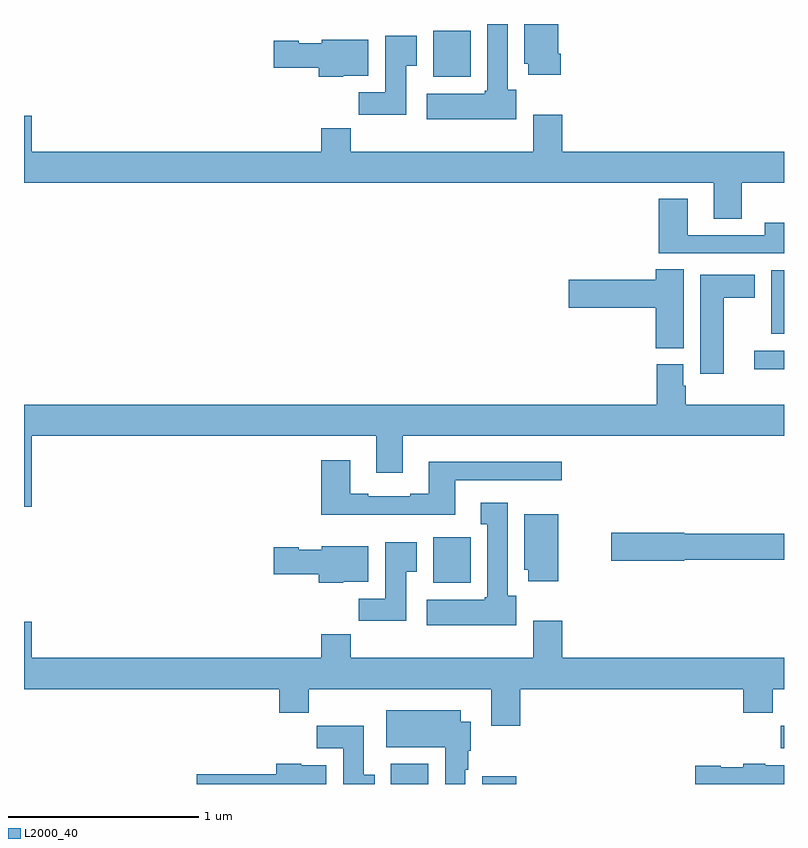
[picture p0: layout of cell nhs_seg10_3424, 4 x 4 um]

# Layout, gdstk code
import gdstk
lib = gdstk.Library(unit=1e-6, precision=1e-09)
def R(c, l, rs):  # rectangles x0, y0, x1, y1
    for r in rs: c.add(gdstk.rectangle(r[:2], r[2:], *l))
def P(c, l, *ps):  # polygons
    for p in ps: c.add(gdstk.Polygon(p, *l))
L2000_40 = (2000, 40)

nhs_seg10_3424 = lib.new_cell('nhs_seg10_3424')
R(nhs_seg10_3424, L2000_40, [(298.931,1282.5,299.128,1282.606), (299.411,1282.5,299.59,1282.54), (300.982,1282.688,301,1282.806), (299.153,1283.558,299.35,1283.8), (300.843,1284.683,301,1284.78), (300.932,1284.869,301,1285.204), (299.153,1286.222,299.35,1286.464)])
P(nhs_seg10_3424, L2000_40, [(299.825,1286.344),(299.812,1286.344),(299.812,1286.5),(299.633,1286.5),(299.633,1286.292),(299.654,1286.292),(299.654,1286.232),(299.825,1286.232)],
  [(299.59,1286.154),(299.545,1286.154),(299.545,1286.5),(299.438,1286.5),(299.438,1286.148),(299.425,1286.148),(299.425,1286.134),(299.121,1286.134),(299.121,1286),(299.59,1286)],
  [(299.011,1286.281),(299.068,1286.281),(299.068,1286.437),(298.901,1286.437),(298.901,1286.14),(298.762,1286.14),(298.762,1286.022),(299.011,1286.022)],
  [(298.68,1286.228),(298.813,1286.228),(298.813,1286.416),(298.566,1286.416),(298.566,1286.398),(298.446,1286.398),(298.446,1286.411),(298.314,1286.411),(298.314,1286.269),(298.55,1286.269),(298.55,1286.222),(298.68,1286.222)],
  [(300.777,1285.664),(301,1285.664),(301,1285.828),(299.834,1285.828),(299.834,1286.023),(299.681,1286.023),(299.681,1285.828),(298.721,1285.828),(298.721,1285.952),(298.565,1285.952),(298.565,1285.828),(297.04,1285.828),(297.04,1286.017),(297,1286.017),(297,1285.664),(300.629,1285.664),(300.629,1285.474),(300.777,1285.474)],
  [(301,1285.453),(300.898,1285.453),(300.898,1285.389),(300.493,1285.389),(300.493,1285.579),(300.341,1285.579),(300.341,1285.293),(301,1285.293)],
  [(300.472,1285.208),(300.326,1285.208),(300.326,1285.154),(299.868,1285.154),(299.868,1285.007),(300.326,1285.007),(300.326,1284.793),(300.472,1284.793)],
  [(300.682,1285.058),(300.847,1285.058),(300.847,1285.18),(300.56,1285.18),(300.56,1284.66),(300.682,1284.66)],
  [(297.04,1284.332),(298.853,1284.332),(298.853,1284.138),(298.993,1284.138),(298.993,1284.332),(301,1284.332),(301,1284.496),(300.482,1284.496),(300.482,1284.597),(300.469,1284.597),(300.469,1284.708),(300.329,1284.708),(300.329,1284.496),(297,1284.496),(297,1283.958),(297.04,1283.958)],
  [(299.269,1284.099),(299.83,1284.099),(299.83,1284.196),(299.129,1284.196),(299.129,1284.028),(299.033,1284.028),(299.033,1284.015),(298.813,1284.015),(298.813,1284.028),(298.717,1284.028),(298.717,1284.205),(298.565,1284.205),(298.565,1283.918),(299.269,1283.918)],
  [(299.59,1283.49),(299.545,1283.49),(299.545,1283.98),(299.405,1283.98),(299.405,1283.867),(299.438,1283.867),(299.438,1283.484),(299.425,1283.484),(299.425,1283.47),(299.121,1283.47),(299.121,1283.336),(299.59,1283.336)],
  [(299.812,1283.92),(299.633,1283.92),(299.633,1283.628),(299.654,1283.628),(299.654,1283.568),(299.812,1283.568)],
  [(300.474,1283.68),(301,1283.68),(301,1283.816),(300.474,1283.816),(300.474,1283.822),(300.09,1283.822),(300.09,1283.675),(300.474,1283.675)],
  [(299.011,1283.617),(299.068,1283.617),(299.068,1283.773),(298.901,1283.773),(298.901,1283.476),(298.762,1283.476),(298.762,1283.358),(299.011,1283.358)],
  [(298.68,1283.564),(298.813,1283.564),(298.813,1283.752),(298.566,1283.752),(298.566,1283.734),(298.446,1283.734),(298.446,1283.747),(298.314,1283.747),(298.314,1283.605),(298.55,1283.605),(298.55,1283.558),(298.68,1283.558)],
  [(297,1283.353),(297,1283),(298.343,1283),(298.343,1282.876),(298.499,1282.876),(298.499,1283),(299.459,1283),(299.459,1282.806),(299.612,1282.806),(299.612,1283),(300.785,1283),(300.785,1282.876),(300.941,1282.876),(300.941,1283),(301,1283),(301,1283.164),(299.834,1283.164),(299.834,1283.359),(299.681,1283.359),(299.681,1283.164),(298.721,1283.164),(298.721,1283.288),(298.565,1283.288),(298.565,1283.164),(297.04,1283.164),(297.04,1283.353)],
  [(299.323,1282.574),(299.338,1282.574),(299.338,1282.674),(299.35,1282.674),(299.35,1282.828),(299.299,1282.828),(299.299,1282.888),(298.907,1282.888),(298.907,1282.694),(299.216,1282.694),(299.216,1282.5),(299.323,1282.5)],
  [(298.846,1282.548),(298.789,1282.548),(298.789,1282.806),(298.54,1282.806),(298.54,1282.688),(298.679,1282.688),(298.679,1282.5),(298.846,1282.5)],
  [(301,1282.6),(300.9,1282.6),(300.9,1282.606),(300.786,1282.606),(300.786,1282.588),(300.666,1282.588),(300.666,1282.596),(300.534,1282.596),(300.534,1282.5),(301,1282.5)],
  [(298.591,1282.6),(298.458,1282.6),(298.458,1282.606),(298.328,1282.606),(298.328,1282.552),(297.909,1282.552),(297.909,1282.5),(298.591,1282.5)])

lib.write_gds('nhs_seg10_3424.gds')
